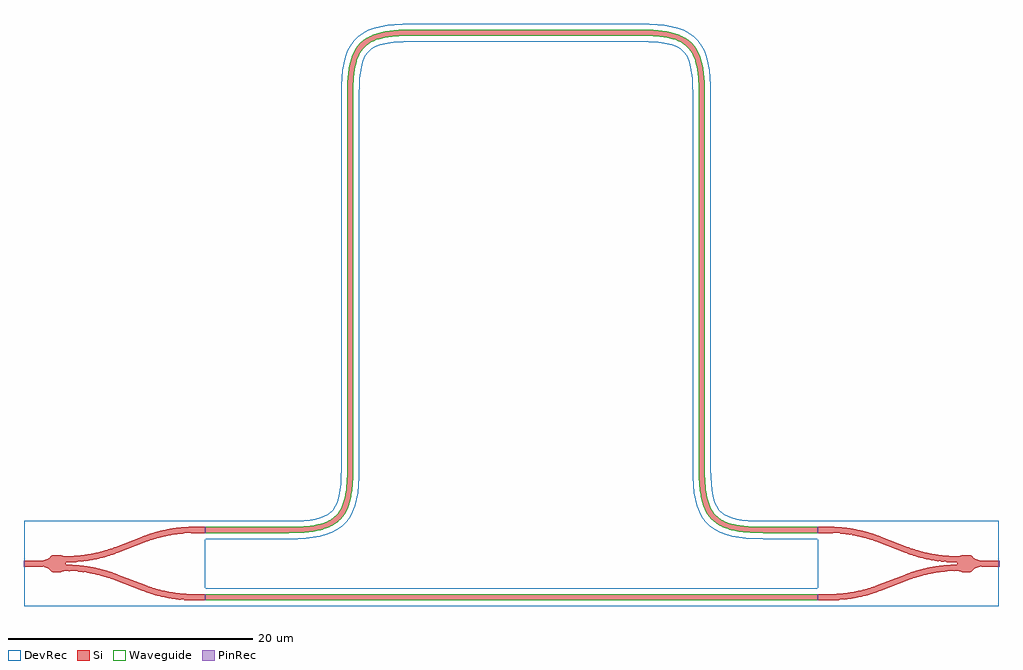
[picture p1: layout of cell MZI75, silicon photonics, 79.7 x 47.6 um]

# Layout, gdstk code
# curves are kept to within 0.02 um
from math import pi, radians
import gdstk
lib = gdstk.Library(unit=1e-6, precision=1e-09)
def R(c, l, rs):  # rectangles x0, y0, x1, y1
    for r in rs: c.add(gdstk.rectangle(r[:2], r[2:], *l))
def P(c, l, *ps):  # polygons
    for p in ps: c.add(gdstk.Polygon(p, *l))
Si = (1, 0)
PinRec = (1, 10)
Waveguide = (1, 99)
DevRec = (68, 0)

waveguide = lib.new_cell('Waveguide')
R(waveguide, Si, [(8.91,-1.04,58.91,-0.54)])
R(waveguide, Waveguide, [(8.91,-1.04,58.91,-0.54)])
R(waveguide, DevRec, [(8.91,-1.54,58.91,-0.04)])
waveguide.add(gdstk.FlexPath([(8.92,-0.79),(8.9,-0.79)], 0.5, ends="flush", simple_path=True, layer=1, datatype=10))  # PinRec
waveguide.add(gdstk.FlexPath([(58.9,-0.79),(58.92,-0.79)], 0.5, ends="flush", simple_path=True, layer=1, datatype=10))  # PinRec
waveguide.add(gdstk.Label('opt1', (8.91,-0.79), layer=1, texttype=10))
waveguide.add(gdstk.Label('opt2', (58.91,-0.79), layer=1, texttype=10))
waveguide.add(gdstk.Label('Lumerical_INTERCONNECT_library=Design kits/EBeam', (8.91,-0.89), layer=68, texttype=0))
waveguide.add(gdstk.Label('Component=ebeam_wg_integral_1550', (8.91,-0.69), layer=68, texttype=0))
waveguide.add(gdstk.Label('cellName=Waveguide', (8.91,-0.59), layer=68, texttype=0))
waveguide.add(gdstk.Label('Spice_param:wg_length=0.000050000 wg_width=5e-07 points="[[8.91,-0.79],[58.91,-0.79]]" radius=5e-06', (8.91,-0.79), layer=68, texttype=0))
waveguide.add(gdstk.Label('Length=50.000 (microns)', (8.91,-1.39), layer=68, texttype=0))
waveguide.add(gdstk.Label('waveguide_type=Strip TE 1550 nm, w=500 nm', (8.91,-0.99), layer=68, texttype=0))

ebeam_y_1550 = lib.new_cell('ebeam_y_1550')
R(ebeam_y_1550, Si, [(6.5,-3,7.4,-2.5), (-7.4,-0.25,-6,0.25), (6.5,2.5,7.4,3)])
P(ebeam_y_1550, Si, [(6.458,-3),(6.237,-2.997),(6.237,-2.497),(6.5,-2.5),(6.5,-3)],
  [(5.033,-2.908),(4.288,-2.79),(3.59,-2.634),(2.922,-2.442),(2.265,-2.21),(2.445,-1.744),(3.075,-1.966),(3.731,-2.154),(5.033,-2.404)],
  [(6.233,-2.997),(5.033,-2.908),(5.033,-2.404),(6.237,-2.497)],
  [(2.265,-2.21),(0.055,-1.356),(0.235,-0.89),(2.445,-1.744)],
  [(-0.762,-1.076),(-1.532,-0.874),(-2.334,-0.724),(-3.178,-0.63),(-4,-0.6),(-4,-0.1),(-3.16,-0.13),(-2.381,-0.212),(-1.565,-0.355),(-0.762,-0.555)],
  [(0.055,-1.356),(-0.762,-1.076),(-0.762,-0.555),(0.235,-0.89)],
  [(6.237,2.497),(6.237,2.997),(6.5,3),(6.5,2.5)],
  [(2.445,1.744),(2.267,2.211),(2.922,2.442),(3.59,2.634),(4.288,2.79),(5.033,2.908),(5.033,2.404),(3.731,2.154),(3.075,1.966)],
  [(5.033,2.404),(5.033,2.908),(6.237,2.997),(6.237,2.497)],
  [(0.235,0.89),(0.055,1.356),(2.265,2.21),(2.445,1.744)],
  [(-4,0.1),(-4,0.6),(-3.178,0.63),(-2.334,0.724),(-1.532,0.874),(-0.762,1.076),(-0.762,0.555),(-1.565,0.355),(-2.381,0.212),(-3.16,0.13)],
  [(-0.762,0.555),(-0.762,1.076),(0.055,1.356),(0.235,0.89)],
  [(-5.122,-0.662),(-5.442,-0.374),(-5.808,-0.255),(-6,-0.25),(-6,0.25),(-5.817,0.253),(-5.442,0.374),(-5.122,0.662)],
  [(-4.957,-0.703),(-5.122,-0.662),(-5.122,0.662),(-4.978,0.702),(-4.538,0.703),(-4.167,0.6),(-4,0.6),(-4,-0.6),(-4.167,-0.6),(-4.509,-0.701)])
R(ebeam_y_1550, DevRec, [(-7.4,-3.5,7.4,3.5)])
ebeam_y_1550.add(gdstk.FlexPath([(-7.35,0),(-7.45,0)], 0.5, ends="flush", simple_path=True, layer=1, datatype=10))  # PinRec
ebeam_y_1550.add(gdstk.FlexPath([(7.35,2.75),(7.45,2.75)], 0.5, ends="flush", simple_path=True, layer=1, datatype=10))  # PinRec
ebeam_y_1550.add(gdstk.FlexPath([(7.35,-2.75),(7.45,-2.75)], 0.5, ends="flush", simple_path=True, layer=1, datatype=10))  # PinRec
ebeam_y_1550.add(gdstk.Label('Ref: Y Zhang, Opt. Express, 21/1, 2013', (-7.5,-1), layer=10, texttype=0))
ebeam_y_1550.add(gdstk.Label('opt2', (7.4,2.75), layer=1, texttype=10))
ebeam_y_1550.add(gdstk.Label('opt3', (7.4,-2.75), layer=1, texttype=10))
ebeam_y_1550.add(gdstk.Label('opt1', (-7.4,0), layer=1, texttype=10))
ebeam_y_1550.add(gdstk.Label('Component=ebeam_y_1550', (-6,1.5), layer=68, texttype=0))
ebeam_y_1550.add(gdstk.Label('Lumerical_INTERCONNECT_library=Design kits/ebeam', (-6.86,-2.19), layer=68, texttype=0))

waveguide_13 = lib.new_cell('Waveguide$13')
P(waveguide_13, Si, [(8.91,4.46),(8.91,4.96),(16.167,4.964),(17.125,5.013),(18.081,5.155),(18.833,5.396),(19.14,5.557),(19.407,5.744),(19.636,5.963),(19.833,6.216),(20.053,6.616),(20.186,6.968),(20.324,7.513),(20.418,8.15),(20.472,8.88),(20.49,9.71),(20.499,40.961),(20.608,42.277),(20.817,43.207),(20.97,43.611),(21.159,43.974),(21.563,44.491),(21.859,44.746),(22.196,44.961),(22.572,45.138),(23.136,45.319),(23.776,45.445),(24.308,45.508),(25.74,45.564),(45.301,45.547),(46.413,45.446),(47.343,45.237),(47.747,45.084),(48.11,44.895),(48.627,44.491),(49.03,43.975),(49.219,43.612),(49.372,43.208),(49.581,42.278),(49.69,40.962),(49.701,9.493),(49.753,8.325),(49.812,7.821),(49.928,7.231),(50.044,6.846),(50.187,6.51),(50.356,6.217),(50.553,5.964),(50.782,5.745),(51.049,5.558),(51.356,5.397),(51.708,5.264),(52.56,5.073),(53.62,4.978),(58.91,4.96),(58.91,4.46),(53.802,4.47),(52.836,4.534),(52,4.668),(51.556,4.788),(51.152,4.941),(50.789,5.13),(50.466,5.359),(50.183,5.628),(49.94,5.939),(49.739,6.288),(49.574,6.678),(49.407,7.261),(49.294,7.92),(49.227,8.661),(49.201,9.489),(49.2,40.314),(49.172,41.336),(49.109,42.043),(48.971,42.794),(48.855,43.179),(48.712,43.515),(48.415,43.982),(48.196,44.211),(47.943,44.408),(47.65,44.577),(47.314,44.72),(46.646,44.899),(45.656,45.026),(44.45,45.064),(24.91,45.046),(23.85,44.951),(22.998,44.76),(22.646,44.627),(22.339,44.466),(22.072,44.279),(21.843,44.06),(21.53,43.617),(21.379,43.295),(21.254,42.926),(21.08,42.042),(20.999,40.945),(20.988,9.487),(20.962,8.66),(20.895,7.919),(20.782,7.26),(20.662,6.816),(20.509,6.412),(20.249,5.938),(20.006,5.627),(19.723,5.358),(19.4,5.129),(19.037,4.94),(18.633,4.787),(18.032,4.635),(17.171,4.515),(16.177,4.464)])
P(waveguide_13, Waveguide, [(8.91,4.46),(8.91,4.96),(16.167,4.964),(17.125,5.013),(18.081,5.155),(18.833,5.396),(19.14,5.557),(19.407,5.744),(19.636,5.963),(19.833,6.216),(20.053,6.616),(20.186,6.968),(20.324,7.513),(20.418,8.15),(20.472,8.88),(20.49,9.71),(20.499,40.961),(20.608,42.277),(20.817,43.207),(20.97,43.611),(21.159,43.974),(21.563,44.491),(21.859,44.746),(22.196,44.961),(22.572,45.138),(23.136,45.319),(23.776,45.445),(24.308,45.508),(25.74,45.564),(45.301,45.547),(46.413,45.446),(47.343,45.237),(47.747,45.084),(48.11,44.895),(48.627,44.491),(49.03,43.975),(49.219,43.612),(49.372,43.208),(49.581,42.278),(49.69,40.962),(49.701,9.493),(49.753,8.325),(49.812,7.821),(49.928,7.231),(50.044,6.846),(50.187,6.51),(50.356,6.217),(50.553,5.964),(50.782,5.745),(51.049,5.558),(51.356,5.397),(51.708,5.264),(52.56,5.073),(53.62,4.978),(58.91,4.96),(58.91,4.46),(53.802,4.47),(52.836,4.534),(52,4.668),(51.556,4.788),(51.152,4.941),(50.789,5.13),(50.466,5.359),(50.183,5.628),(49.94,5.939),(49.739,6.288),(49.574,6.678),(49.407,7.261),(49.294,7.92),(49.227,8.661),(49.201,9.489),(49.2,40.314),(49.172,41.336),(49.109,42.043),(48.971,42.794),(48.855,43.179),(48.712,43.515),(48.415,43.982),(48.196,44.211),(47.943,44.408),(47.65,44.577),(47.314,44.72),(46.646,44.899),(45.656,45.026),(44.45,45.064),(24.91,45.046),(23.85,44.951),(22.998,44.76),(22.646,44.627),(22.339,44.466),(22.072,44.279),(21.843,44.06),(21.53,43.617),(21.379,43.295),(21.254,42.926),(21.08,42.042),(20.999,40.945),(20.988,9.487),(20.962,8.66),(20.895,7.919),(20.782,7.26),(20.662,6.816),(20.509,6.412),(20.249,5.938),(20.006,5.627),(19.723,5.358),(19.4,5.129),(19.037,4.94),(18.633,4.787),(18.032,4.635),(17.171,4.515),(16.177,4.464)])
P(waveguide_13, DevRec, [(8.91,3.96),(8.91,5.46),(15.739,5.46),(16.97,5.502),(17.484,5.557),(18.315,5.735),(18.635,5.855),(18.898,5.995),(19.115,6.152),(19.297,6.334),(19.454,6.551),(19.594,6.814),(19.714,7.134),(19.892,7.965),(19.947,8.479),(19.99,9.71),(20,41.015),(20.101,42.266),(20.199,42.823),(20.335,43.341),(20.517,43.823),(20.751,44.264),(21.042,44.663),(21.39,45.011),(21.789,45.302),(22.23,45.536),(22.712,45.718),(23.23,45.854),(23.787,45.952),(24.389,46.017),(25.74,46.064),(45.151,46.054),(46.402,45.953),(46.959,45.855),(47.477,45.719),(47.959,45.537),(48.4,45.303),(48.799,45.012),(49.147,44.664),(49.438,44.265),(49.672,43.824),(49.854,43.342),(49.99,42.824),(50.088,42.267),(50.189,41.016),(50.2,9.71),(50.242,8.48),(50.375,7.517),(50.595,6.815),(50.892,6.335),(51.074,6.153),(51.554,5.856),(52.256,5.636),(53.219,5.503),(53.8,5.471),(58.91,5.46),(58.91,3.96),(53.748,3.971),(52.497,4.072),(51.94,4.17),(51.422,4.306),(50.94,4.488),(50.499,4.722),(50.1,5.013),(49.752,5.361),(49.461,5.76),(49.227,6.201),(49.045,6.683),(48.909,7.201),(48.811,7.758),(48.746,8.36),(48.7,9.71),(48.7,40.314),(48.657,41.545),(48.602,42.059),(48.524,42.508),(48.304,43.21),(48.007,43.69),(47.825,43.872),(47.608,44.029),(47.345,44.169),(47.025,44.289),(46.194,44.467),(45.68,44.522),(44.45,44.564),(25.09,44.553),(23.995,44.466),(23.164,44.288),(22.844,44.168),(22.581,44.028),(22.364,43.871),(22.182,43.689),(21.885,43.209),(21.665,42.507),(21.532,41.544),(21.5,40.963),(21.49,9.71),(21.443,8.359),(21.378,7.757),(21.28,7.2),(21.144,6.682),(20.962,6.2),(20.728,5.759),(20.437,5.36),(20.089,5.012),(19.69,4.721),(19.249,4.487),(18.767,4.305),(18.249,4.169),(17.692,4.071),(16.441,3.97)])
waveguide_13.add(gdstk.FlexPath([(8.92,4.71),(8.9,4.71)], 0.5, ends="flush", simple_path=True, layer=1, datatype=10))  # PinRec
waveguide_13.add(gdstk.FlexPath([(58.9,4.71),(58.92,4.71)], 0.5, ends="flush", simple_path=True, layer=1, datatype=10))  # PinRec
waveguide_13.add(gdstk.Label('opt1', (8.91,4.71), layer=1, texttype=10))
waveguide_13.add(gdstk.Label('opt2', (58.91,4.71), layer=1, texttype=10))
waveguide_13.add(gdstk.Label('Lumerical_INTERCONNECT_library=Design kits/EBeam', (8.91,4.61), layer=68, texttype=0))
waveguide_13.add(gdstk.Label('Component=ebeam_wg_integral_1550', (8.91,4.81), layer=68, texttype=0))
waveguide_13.add(gdstk.Label('cellName=Waveguide', (8.91,4.91), layer=68, texttype=0))
waveguide_13.add(gdstk.Label('Spice_param:wg_length=0.000125001 wg_width=5e-07 points="[[8.91,4.71],[20.74,4.71],[20.74,45.314],[49.45,45.314],[49.45,4.71],[58.91,4.71]]" radius=5e-06', (8.91,4.71), layer=68, texttype=0))
waveguide_13.add(gdstk.Label('Length=125.001 (microns)', (8.91,4.11), layer=68, texttype=0))
waveguide_13.add(gdstk.Label('waveguide_type=Strip TE 1550 nm, w=500 nm', (8.91,4.51), layer=68, texttype=0))

mzi75 = lib.new_cell('MZI75')
mzi75.add(gdstk.Reference(waveguide, (5.99,1.54)))
mzi75.add(gdstk.Reference(ebeam_y_1550, (72.3,3.5), rotation=pi))
mzi75.add(gdstk.Reference(ebeam_y_1550, (7.5,3.5)))
mzi75.add(gdstk.Reference(waveguide_13, (5.99,1.54)))

lib.write_gds('MZI75.gds')
